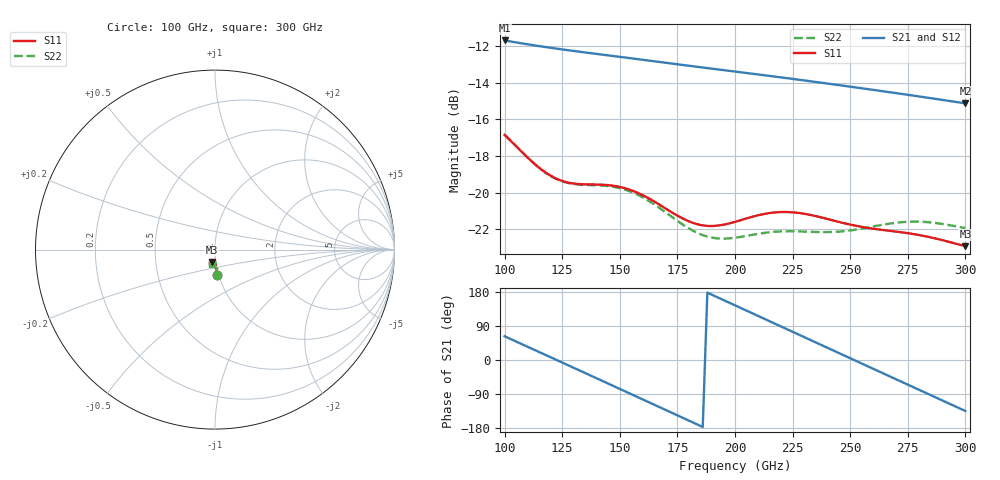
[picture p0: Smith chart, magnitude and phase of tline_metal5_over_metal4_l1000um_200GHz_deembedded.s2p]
! Created with skrf 2.0.1 (http://scikit-rf.org).
# GHz S DB R 50.0
!freq dBS11 angS11 dBS21 angS21 dBS12 angS12 dBS22 angS22
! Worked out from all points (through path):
!   101 points, 100 GHz to 300 GHz, reference 50 ohm
!   highest |S21| = -11.71 dB at 100 GHz (marker M1); lowest = -15.1 dB at 300 GHz (marker M2)
!   group delay of S21, straight-line fit = 7.75 ps
!   lowest |S11| = -22.9 dB at 300 GHz (marker M3), VSWR 1.15, Z = 47.7 - j6.62 ohm
!   |S11| at or under -10 dB: start of sweep to end of sweep
!   |S22| runs from -22.5 to -16.8 dB; largest |S21 - S12| = 3.5e-14
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100  -16.85 -85.3  -11.71 62.6  -11.71 62.6  -16.83 -84.6
110  -18.09 -87.3  -11.92 34.9  -11.92 34.9  -18.09 -86.8
118  -18.92 -86.5  -12.07 12.7  -12.07 12.7  -18.93 -86.0
126  -19.40 -84.7  -12.22 -9.5  -12.22 -9.5  -19.42 -84.2
134  -19.54 -83.7  -12.35 -31.7  -12.35 -31.7  -19.57 -83.4
144  -19.58 -84.9  -12.51 -59.6  -12.51 -59.6  -19.63 -84.9
152  -19.74 -87.4  -12.64 -81.9  -12.64 -81.9  -19.82 -87.7
160  -20.14 -90.1  -12.76 -104.2  -12.76 -104.2  -20.25 -90.8
168  -20.71 -91.7  -12.89 -126.5  -12.89 -126.5  -20.90 -92.8
176  -21.32 -91.5  -13.02 -148.8  -13.02 -148.8  -21.62 -93.1
184  -21.73 -89.5  -13.15 -171.1  -13.15 -171.1  -22.21 -91.3
192  -21.80 -87.1  -13.28 166.5  -13.28 166.5  -22.48 -88.6
200  -21.58 -85.9  -13.40 144.2  -13.40 144.2  -22.45 -86.5
210  -21.23 -87.0  -13.56 116.3  -13.56 116.3  -22.24 -85.9
218  -21.06 -89.4  -13.69 94.0  -13.69 94.0  -22.12 -86.8
226  -21.08 -92.3  -13.82 71.6  -13.82 71.6  -22.10 -87.9
234  -21.24 -94.9  -13.95 49.3  -13.95 49.3  -22.13 -88.7
250  -21.73 -98.2  -14.23 4.7  -14.23 4.7  -22.05 -89.7
258  -21.92 -99.1  -14.37 -17.6  -14.37 -17.6  -21.88 -90.6
268  -22.09 -100.4  -14.54 -45.5  -14.54 -45.5  -21.66 -93.0
284  -22.40 -103.2  -14.84 -90.1  -14.84 -90.1  -21.60 -98.5
300  -22.91 -105.2  -15.14 -134.6  -15.14 -134.6  -21.92 -103.1
